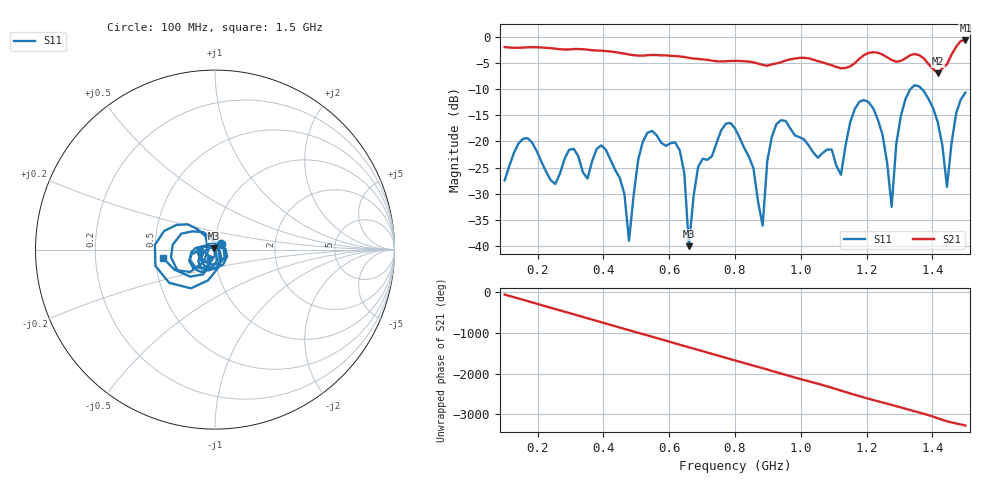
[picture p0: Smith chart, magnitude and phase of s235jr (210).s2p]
! NanoVNA-App
! Date: 2025-09-25 15:05:48
! Start: 100MHz Stop: 1,5GHz Points: 101
! S-Parameter data: F S11 S21 S12 S22
# Hz S RI R 50
!  Frequency  S11_Real  S11_Imag  S21_Real  S21_Imag  S12_Real  S12_Imag  S22_Real  S22_Imag
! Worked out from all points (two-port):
!   101 points, 100 MHz to 1.5 GHz, reference 50 ohm
!   highest |S21| = -0.69 dB at 1.5 GHz (marker M1); lowest = -7.0 dB at 1.416 GHz (marker M2)
!   |S21| within 3 dB of the highest: start of sweep to 622.4 MHz; 1.188 GHz to 1.256 GHz (68.1 MHz wide, 5.57 % of centre) (the widest 2 of 4)
!   lowest |S11| = -40.0 dB at 660 MHz (marker M3), VSWR 1.02, Z = 49.2 + j0.624 ohm
!   |S11| at or under -10 dB: start of sweep to 1.333 GHz; 1.368 GHz to end of sweep
!   S12 and S22 are empty: the file has one direction only
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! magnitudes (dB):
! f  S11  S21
! 100 MHz  -27.5  -2.0
! 170 MHz  -19.4  -2.0
! 338 MHz  -25.9  -2.4
! 408 MHz  -21.6  -2.7
! 478 MHz  -39.0  -3.4
! 520 MHz  -20.0  -3.6
! 576 MHz  -20.3  -3.5
! 632 MHz  -21.7  -3.7
! 660 MHz  -40.0  -4.0
! 688 MHz  -24.9  -4.2
! 800 MHz  -17.5  -4.6
! 884 MHz  -36.1  -5.4
! 926 MHz  -16.7  -5.1
! 1.038 GHz  -22.1  -4.4
! 1.122 GHz  -26.4  -6.0
! 1.206 GHz  -12.5  -3.1
! 1.276 GHz  -32.5  -4.4
! 1.29 GHz  -20.5  -4.8
! 1.332 GHz  -10.0  -3.5
! 1.416 GHz  -16.3  -7.0
! 1.444 GHz  -28.7  -5.3
! 1.5 GHz  -10.7  -0.7
